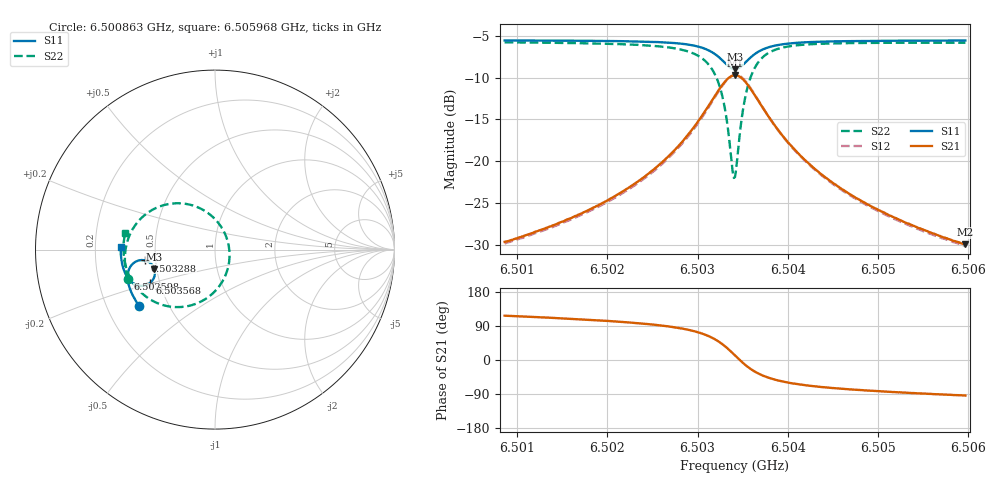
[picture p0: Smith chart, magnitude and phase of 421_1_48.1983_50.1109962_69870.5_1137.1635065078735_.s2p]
#  HZ  S  RI  R  50.00
! Rohde & Schwarz Vector Network Analyzer
! Rohde-Schwarz,ZNB20-2Port,1311601062101988,3.16
! Created: UTC 3/20/2024, 11:54:55 AM
! freq[Hz]  re:S11  im:S11  re:S21  im:S21  re:S12  im:S12  re:S22  im:S22
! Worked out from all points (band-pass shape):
!   401 points, 6.500863 GHz to 6.505968 GHz, reference 50 ohm
!   highest |S21| = -9.72 dB at 6.503415 GHz (marker M1); lowest = -29.9 dB at 6.505968 GHz (marker M2)
!   |S21| within 3 dB of the highest: 6.503161 GHz to 6.503671 GHz (509.8 kHz wide, 0.00784 % of centre)
!   lowest |S11| = -9.0 dB at 6.503415 GHz (marker M3), VSWR 2.10, Z = 24.3 - j6.01 ohm
!   |S11| at or under -10 dB: nowhere
!   |S22| runs from -22.0 to -5.8 dB; largest |S21 - S12| = 0.011
!   S11 on the Smith chart (normalised r, x): 6.500863 GHz: 0.34, -0.30; 6.502598 GHz: 0.33, -0.15; 6.503288 GHz: 0.44, -0.06; 6.503568 GHz: 0.44, -0.20; 6.505968 GHz: 0.31, +0.01
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6.5008627e9  -0.4222 -0.3146  -0.015 0.0295  -0.0132 0.0295  -0.4869 -0.1626
6.5017178e9  -0.4595 -0.2521  -0.0143 0.0469  -0.0121 0.0465  -0.5016 -0.0732
6.50219e9  -0.4765 -0.2108  -0.0117 0.0661  -0.00863 0.065  -0.4994 -0.0072
6.5025729e9  -0.4859 -0.169  -0.00301 0.0952  0.000684 0.0928  -0.4809 0.0677
6.5025985e9  -0.4863 -0.1657  -0.00176 0.0978  0.0019 0.0955  -0.4784 0.0739
6.502892e9  -0.483 -0.1212  0.0249 0.1414  0.0285 0.137  -0.423 0.1627
6.5030834e9  -0.4622 -0.083  0.0781 0.1832  0.0806 0.1772  -0.3214 0.2352
6.5031983e9  -0.4302 -0.0623  0.1461 0.201  0.1471 0.1947  -0.1987 0.2581
6.5032877e9  -0.3902 -0.0602  0.225 0.1857  0.2253 0.1805  -0.0629 0.2193
6.5033259e9  -0.3712 -0.0676  0.2611 0.1629  0.2619 0.1584  -0.00311 0.1734
6.5033898e9  -0.3444 -0.0937  0.3089 0.0998  0.3114 0.095  0.0691 0.0521
6.5034153e9  -0.338 -0.1083  0.3194 0.0677  0.3224 0.0622  0.0803 -0.00753
6.5034408e9  -0.3349 -0.1237  0.3231 0.0344  0.3265 0.0276  0.0789 -0.0685
6.5035046e9  -0.3418 -0.1607  0.3056 -0.043  0.3075 -0.0529  0.0244 -0.203
6.5035684e9  -0.3627 -0.1865  0.2631 -0.0972  0.2621 -0.1082  -0.071 -0.2858
6.5036705e9  -0.4021 -0.2018  0.1889 -0.1333  0.1838 -0.1428  -0.2201 -0.3203
6.5038365e9  -0.448 -0.1923  0.1079 -0.1306  0.101 -0.1355  -0.3664 -0.2745
6.5040152e9  -0.4754 -0.1709  0.0634 -0.1108  0.0576 -0.113  -0.4381 -0.2101
6.5042704e9  -0.4961 -0.1408  0.0337 -0.0869  0.0291 -0.0873  -0.4813 -0.1385
6.5046405e9  -0.5112 -0.1026  0.0154 -0.0644  0.0119 -0.0639  -0.5033 -0.0658
6.5051255e9  -0.5211 -0.0578  0.00506 -0.0473  0.0028 -0.0468  -0.5098 0.00196
6.5059679e9  -0.5258 0.0133  -0.00206 -0.0319  -0.00337 -0.031  -0.502 0.0901
